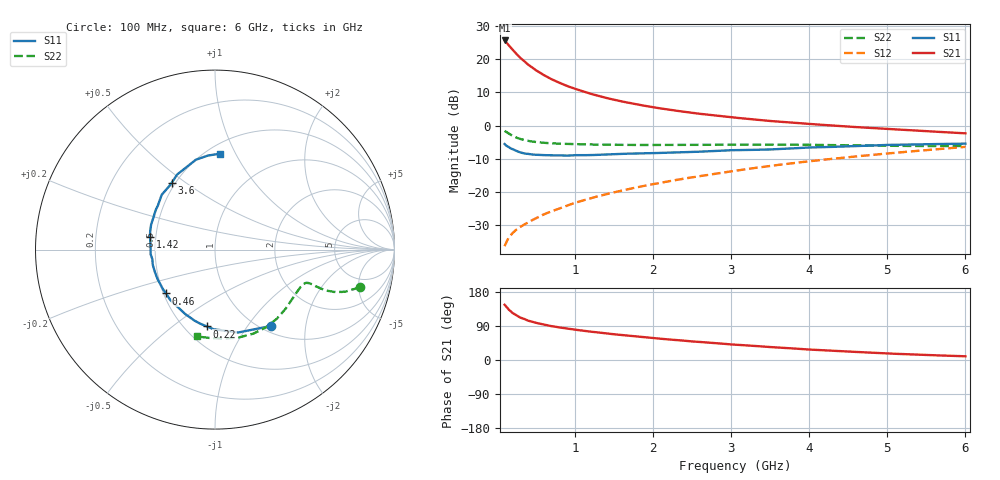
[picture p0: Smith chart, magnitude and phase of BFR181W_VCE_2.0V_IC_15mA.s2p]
! Infineon Technologies  Discrete & RF Semiconductors
! BFR181W
! VCE =  2.0 V,  IC =  15 mA
! Common Emitter S-Parameters:  Nov 2015
# GHz  S  MA  R  50
!  f  S11  S21  S12  S22
! GHz  MAG  ANG  MAG  ANG  MAG  ANG  MAG  ANG
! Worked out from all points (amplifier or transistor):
!   192 points, 100 MHz to 6 GHz, reference 50 ohm
!   highest |S21| = 25.6 dB at 100 MHz (marker M1)
!   |S21| within 3 dB of that: start of sweep to 210.7 MHz
!   unconditionally stable (mu >= 1): 455.1 MHz to 3.373 GHz
!   at 440 MHz: K = 0.99, MSG = 23.2 dB, |S12| = -28.6 dB
!   at 1.7 GHz: K = 1.22, MAG = 10.1 dB, |S12| = -19.0 dB
!   at 6 GHz: K = 0.86, MSG = 2.0 dB, |S12| = -6.4 dB
!   S11 on the Smith chart (normalised r, x): 100 MHz: 1.10, -1.30; 220 MHz: 0.64, -0.67; 460 MHz: 0.51, -0.29; 1.42 GHz: 0.47, +0.07; 3.6 GHz: 0.48, +0.44; 6 GHz: 0.58, +0.87
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0.1  0.5279 -53.7  19.15 145.7  0.0153 69.3  0.8328 -14.6
0.15  0.4795 -74.5  16.37 133.4  0.0204 64.1  0.7611 -18.0
0.2  0.4436 -91.1  13.99 124.3  0.0239 61.7  0.7036 -19.6
0.22  0.4305 -96.1  13.19 121.8  0.0252 61.3  0.6859 -19.8
0.24  0.4208 -101.3  12.43 119.0  0.0265 61.0  0.6682 -20.1
0.26  0.4119 -106.0  11.74 116.5  0.0277 60.8  0.6534 -20.2
0.3  0.3958 -114.7  10.51 112.0  0.0298 60.8  0.6293 -20.2
0.4  0.3755 -131.5  8.304 103.8  0.0348 61.8  0.5883 -19.9
0.46  0.3668 -138.3  7.408 100.6  0.038 63.1  0.5746 -19.7
0.5  0.364 -143.0  6.826 98.0  0.0402 63.9  0.5654 -19.6
0.58  0.3598 -150.7  5.989 94.4  0.0448 65.5  0.5536 -19.7
0.7  0.3574 -159.8  4.996 89.3  0.0512 67.6  0.5414 -20.0
0.9  0.3532 -171.3  3.942 82.9  0.0625 70.2  0.5298 -21.2
1.1  0.3587 -179.8  3.295 77.6  0.0744 71.8  0.5228 -23.0
1.42  0.3681 169.2  2.58 69.8  0.0939 73.3  0.5154 -26.4
1.78  0.3815 159.5  2.1 62.2  0.1169 74.2  0.5112 -30.7
2.08  0.3874 151.9  1.828 56.5  0.1367 74.6  0.5111 -34.8
3.1  0.4276 132.2  1.301 39.9  0.2127 72.6  0.5161 -50.0
3.6  0.443 123.1  1.15 33.0  0.2555 70.3  0.5165 -58.6
4.1  0.4713 115.1  1.04 26.6  0.2991 67.2  0.5121 -67.4
5.1  0.5138 100.5  0.879 16.4  0.3896 60.1  0.4962 -86.0
6  0.5347 87.2  0.765 9.8  0.4783 52.6  0.4942 -102.0
